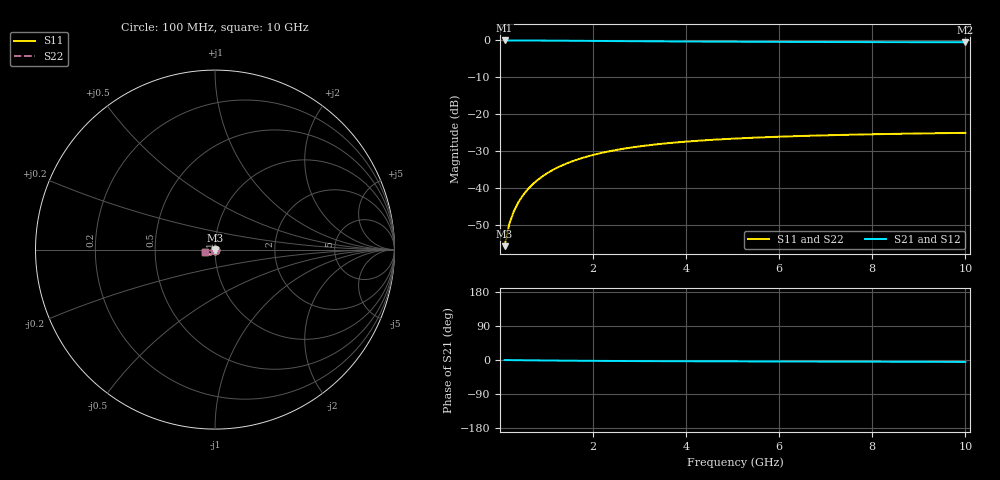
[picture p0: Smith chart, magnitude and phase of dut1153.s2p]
! Touchstone file exported from HFSS 2024.1.0
!  File:  C:/UserFiles/LocalFiles/RDL_TSV_Batchsim/temp_TSV1_1153_1780072157.aedt
!  Generated:  12:36:12 AM May 30, 2026
!  Design:  TSV1
!  Project:  temp_TSV1_1153_1780072157
!  Setup:  Setup1
!  Solution:  Sweep
! Variables:
!  dtsv = 13.34um
!  hbump = 3um
!  htsv = 77.84um
!  lrdl = 252.1521522um
!  p = 40
!  p1 = 50.52um
!  t = 500um
!  trdl = 3um
!  wrdl = 24.89489489um
# GHz S MA R 50.000000
! Terminal data exported
! Port[1] = TSV22_T1
! Port[2] = TSV22_T2
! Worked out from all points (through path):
!   100 points, 100 MHz to 10 GHz, reference 50 ohm
!   highest |S21| = 0.00 dB at 100 MHz (marker M1); lowest = -0.5 dB at 10 GHz (marker M2)
!   lowest |S11| = -55.9 dB at 100 MHz (marker M3), VSWR 1.00, Z = 50 - j0.161 ohm
!   |S11| at or under -10 dB: start of sweep to end of sweep
!   |S22| runs from -55.9 to -25.1 dB; largest |S21 - S12| = 2.6e-15
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0.1  0.001608 -88.7  0.9999 -0.1  0.9999 -0.1  0.001608 -88.7
! Gamma 0 0 0 0
! Port Impedance 50 0 50 0
0.2  0.003215 -91.8  0.9997 -0.3  0.9997 -0.3  0.003215 -91.8
0.3  0.004819 -93.9  0.9994 -0.4  0.9994 -0.4  0.004819 -93.9
0.4  0.006415 -95.9  0.9991 -0.5  0.9991 -0.5  0.006415 -95.9
0.5  0.007997 -97.8  0.9986 -0.7  0.9986 -0.7  0.007997 -97.8
0.6  0.009559 -99.6  0.9981 -0.8  0.9981 -0.8  0.009559 -99.6
0.7  0.0111 -101.3  0.9975 -0.9  0.9975 -0.9  0.0111 -101.3
0.8  0.01261 -103.1  0.9969 -1.1  0.9969 -1.1  0.01261 -103.1
0.9  0.01409 -104.8  0.9961 -1.2  0.9961 -1.2  0.01409 -104.8
1.1  0.01694 -108.0  0.9945 -1.4  0.9945 -1.4  0.01694 -108.0
1.4  0.02094 -112.7  0.9917 -1.7  0.9917 -1.7  0.02094 -112.7
1.6  0.02341 -115.6  0.9897 -1.9  0.9897 -1.9  0.02341 -115.6
1.8  0.02572 -118.4  0.9877 -2.1  0.9877 -2.1  0.02572 -118.4
2.1  0.02888 -122.3  0.9845 -2.3  0.9845 -2.3  0.02888 -122.3
2.5  0.03257 -127.0  0.9804 -2.6  0.9804 -2.6  0.03257 -127.0
2.9  0.03573 -131.2  0.9766 -2.8  0.9766 -2.8  0.03573 -131.2
3.4  0.03904 -135.8  0.9721 -3.1  0.9721 -3.1  0.03904 -135.8
4.2  0.0432 -142.0  0.9661 -3.4  0.9661 -3.4  0.0432 -142.0
5.1  0.04668 -147.7  0.9607 -3.7  0.9607 -3.7  0.04668 -147.7
6.7  0.0509 -155.5  0.9537 -4.1  0.9537 -4.1  0.0509 -155.5
8.4  0.05377 -161.8  0.9487 -4.6  0.9487 -4.6  0.05377 -161.8
10  0.05561 -166.6  0.9455 -5.1  0.9455 -5.1  0.05561 -166.6
